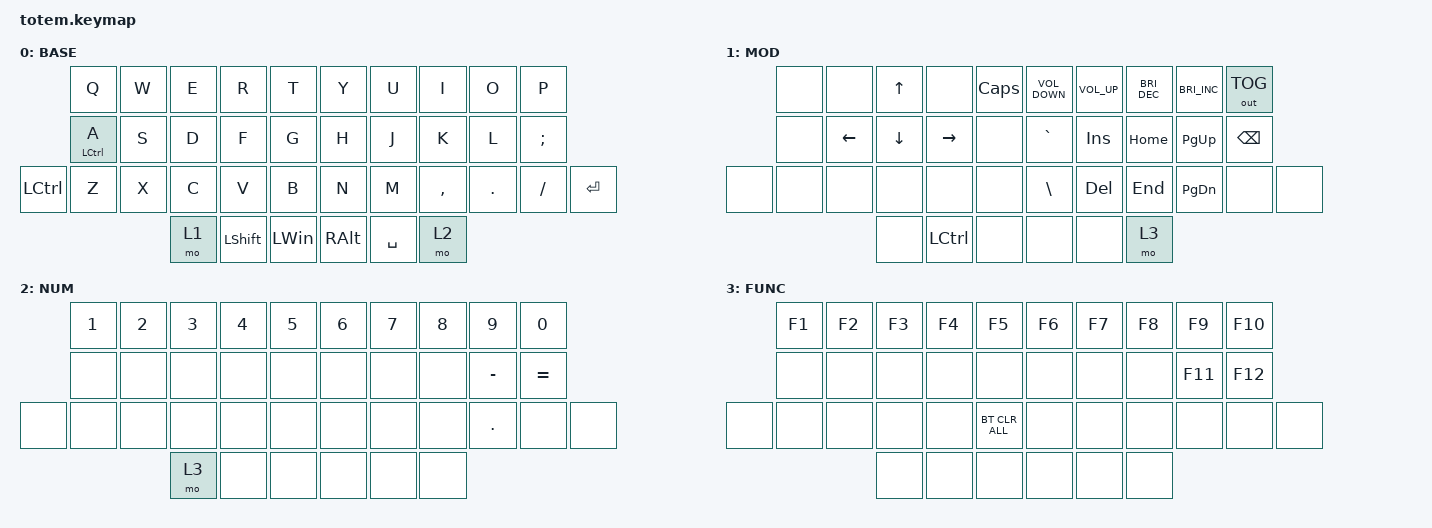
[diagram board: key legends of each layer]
//
//                                                        ▀▀▀▀▀     ▀▀▀▀▀          ▀▀█▀▀
//                                                        ▄▀▀▀▄  ▄  ▄▀▀▀▄  ▄  ▄▀▀▀▄  █  ▄▀▀▀▄
//                                                        █   █  █  █   █  █  █   █  █  █   █
//                                                         ▀▀▀   █   ▀▀▀   █   ▀▀▀   ▀   ▀▀▀
//                                                               █      ▄▄▄█▄▄▄    █   █  
//                                                               ▀      █  █  █     █▄█
//                                                             ▀▀▀▀▀    █  █  █      ▀
//                                                                      ▀  ▀  ▀
//
// ▄▄▄▄▄▄▄▄▄▄▄▄▄▄▄▄▄▄▄▄▄▄▄▄▄▄▄▄▄▄▄▄▄▄▄▄▄▄▄▄▄▄▄▄▄▄▄▄▄▄▄▄▄▄▄▄▄▄▄▄▄▄▄▄▄▄▄▄▄▄▄▄▄▄▄▄▄▄▄▄▄▄▄▄▄▄▄▄▄▄▄▄▄▄▄▄▄▄▄▄▄▄▄▄▄▄▄▄▄▄▄▄▄▄▄▄▄▄▄▄▄▄▄▄▄▄▄▄▄▄▄▄▄▄▄▄▄▄▄▄▄▄▄▄▄▄▄▄▄

#include <behaviors.dtsi>
#include <dt-bindings/zmk/bt.h>
#include <dt-bindings/zmk/keys.h>
#include <dt-bindings/zmk/outputs.h>

#define BASE 0
#define MOD  1
#define NUM  2
#define FUNC  3
#define TVP1 4
#define TVP2 5

&mt {
    quick-tap-ms = <100>;
    global-quick-tap;
    flavor = "balanced";
    tapping-term-ms = <120>;
};

/ {
    combos {
        compatible = "zmk,combos";

        combo_esc {
            timeout-ms = <50>;
            key-positions = <0 1>;
            bindings = <&kp ESC>;
            slow-release;
        };

        combo_tab {
            timeout-ms = <50>;
            key-positions = <11 10>;
            bindings = <&kp TAB>;
            require-prior-idle-ms = <0>;
            slow-release;
        };

        combo_quote {
            bindings = <&kp SINGLE_QUOTE>;
            key-positions = <18 19>;
            timeout-ms = <50>;
            slow-release;
        };

        combo_left_parenthesis {
            bindings = <&kp LEFT_PARENTHESIS>;
            key-positions = <6 7>;
            timeout-ms = <50>;
            slow-release;
        };

        combo_right_parenthesis {
            bindings = <&kp RIGHT_PARENTHESIS>;
            key-positions = <8 9>;
            timeout-ms = <50>;
            require-prior-idle-ms = <0>;
            slow-release;
        };

        combo_left_bracket {
            bindings = <&kp LEFT_BRACKET>;
            key-positions = <27 28>;
            timeout-ms = <50>;
            require-prior-idle-ms = <0>;
            slow-release;
        };

        combo_right_bracket {
            bindings = <&kp RIGHT_BRACKET>;
            key-positions = <29 30>;
            timeout-ms = <50>;
            slow-release;
        };

        combo_enter {
            bindings = <&kp ENTER>;
            key-positions = <16 17>;
            timeout-ms = <50>;
            slow-release;
        };

        combo_colon {
            bindings = <&kp COLON>;
            key-positions = <13 12>;
            timeout-ms = <50>;
            require-prior-idle-ms = <0>;
            slow-release;
        };

        combo_ctrl_z {
            bindings = <&kp LC(Z)>;
            key-positions = <23 21>;
            timeout-ms = <50>;
            slow-release;
            require-prior-idle-ms = <0>;
        };

        combo_ctrl_a {
            bindings = <&kp LC(A)>;
            key-positions = <23 10>;
            timeout-ms = <50>;
            slow-release;
            require-prior-idle-ms = <0>;
        };
    };

    macros {
        gif: gif {
            label = "giphy";
            compatible = "zmk,behavior-macro";
            #binding-cells = <0>;
            bindings =
                <&macro_press>,
                <&kp LSHFT>,
                <&macro_tap>,
                <&kp N2>,
                <&macro_release>,
                <&kp LSHFT>,
                <&macro_tap>,
                <&kp G &kp I &kp F>;
        };
    };

    keymap {
        compatible = "zmk,keymap";

        // ▄▄▄▄▄▄▄▄▄▄▄▄▄▄▄▄▄▄▄▄▄▄▄▄▄▄▄▄▄▄▄▄▄▄▄▄▄▄▄▄▄▄▄▄▄▄▄▄▄▄▄▄▄▄▄▄▄▄▄▄▄▄▄▄▄▄▄▄▄▄▄▄▄▄▄▄▄▄▄▄▄▄▄▄▄▄▄▄▄▄▄▄▄▄▄▄▄▄▄▄▄▄▄▄▄▄▄▄▄▄▄▄▄▄▄▄▄▄▄▄▄▄▄▄▄▄▄▄▄▄▄▄▄▄▄▄▄▄▄▄▄▄▄▄▄▄▄▄▄

        base_layer {
            // ┏━━━━━━━━━━━━━━━━━━━━━━━━━━━━━━━━━━━━━━━┓

            label = "BASE";

            // ┗━━━━━━━━━━━━━━━━━━━━━━━━━━━━━━━━━━━━━━━┛
            //             ┏━━━━━━━━━━━┳━━━━━━━━━━━┳━━━━━━━━━━━┳━━━━━━━━━━━┳━━━━━━━━━━━┓   ┏━━━━━━━━━━━┳━━━━━━━━━━━┳━━━━━━━━━━━┳━━━━━━━━━━━┳━━━━━━━━━━━┓
            //             ┃     Q     ┃     W     ┃     F     ┃     P     ┃     G     ┃   ┃     J     ┃     L     ┃     U     ┃     Y     ┃     ;     ┃
            //             ┣━━━━━━━━━━━╋━━━━━━━━━━━╋━━━━━━━━━━━╋━━━━━━━━━━━╋━━━━━━━━━━━┫   ┣━━━━━━━━━━━╋━━━━━━━━━━━╋━━━━━━━━━━━╋━━━━━━━━━━━╋━━━━━━━━━━━┫
            //             ┃     A     ┃     R     ┃     S     ┃     T     ┃     D     ┃   ┃     H     ┃     N     ┃     E     ┃     I     ┃     O     ┃
            // ┏━━━━━━━━━━━╋━━━━━━━━━━━╋━━━━━━━━━━━╋━━━━━━━━━━━╋━━━━━━━━━━━╋━━━━━━━━━━━┫   ┣━━━━━━━━━━━╋━━━━━━━━━━━╋━━━━━━━━━━━╋━━━━━━━━━━━╋━━━━━━━━━━━╋━━━━━━━━━━━┓
            // ┃     Q     ┃     Z     ┃     X     ┃     C     ┃     V     ┃     B     ┃   ┃     K     ┃     M     ┃     ,     ┃     .     ┃     /     ┃     \     ┃
            // ┗━━━━━━━━━━━┻━━━━━━━━━━━┻━━━━━━━━━━━╋━━━━━━━━━━━╋━━━━━━━━━━━╋━━━━━━━━━━━┫   ┣━━━━━━━━━━━╋━━━━━━━━━━━╋━━━━━━━━━━━╋━━━━━━━━━━━┻━━━━━━━━━━━┻━━━━━━━━━━━┛
            //                                     ┃    DEL    ┃    TAB    ┃    SPC    ┃   ┃   ENTER   ┃           ┃   BSPC    ┃
            //                                     ┗━━━━━━━━━━━┻━━━━━━━━━━━┻━━━━━━━━━━━┛   ┗━━━━━━━━━━━┻━━━━━━━━━━━┻━━━━━━━━━━━┛

            bindings = <
                  &kp Q        &kp W  &kp E  &kp R           &kp T           &kp Y          &kp U      &kp I      &kp O    &kp P
                  &mt LCTRL A  &kp S  &kp D  &kp F           &kp G           &kp H          &kp J      &kp K      &kp L    &kp SEMICOLON
&kp LEFT_CONTROL  &kp Z        &kp X  &kp C  &kp V           &kp B           &kp N          &kp M      &kp COMMA  &kp DOT  &kp SLASH      &kp RET
                                      &mo 1  &kp LEFT_SHIFT  &kp LEFT_WIN    &kp RIGHT_ALT  &kp SPACE  &mo 2
            >;
        };

        // ▄▄▄▄▄▄▄▄▄▄▄▄▄▄▄▄▄▄▄▄▄▄▄▄▄▄▄▄▄▄▄▄▄▄▄▄▄▄▄▄▄▄▄▄▄▄▄▄▄▄▄▄▄▄▄▄▄▄▄▄▄▄▄▄▄▄▄▄▄▄▄▄▄▄▄▄▄▄▄▄▄▄▄▄▄▄▄▄▄▄▄▄▄▄▄▄▄▄▄▄▄▄▄▄▄▄▄▄▄▄▄▄▄▄▄▄▄▄▄▄▄▄▄▄▄▄▄▄▄▄▄▄▄▄▄▄▄▄▄▄▄▄▄▄▄▄▄▄▄

        mod_layer {
            // ┏━━━━━━━━━━━━━━━━━━━━━━━━━━━━━━━━━━━━━━━┓

            label = "MOD";

            // ┗━━━━━━━━━━━━━━━━━━━━━━━━━━━━━━━━━━━━━━━┛
            //             ┏━━━━━━━━━━━┳━━━━━━━━━━━┳━━━━━━━━━━━┳━━━━━━━━━━━┳━━━━━━━━━━━┓   ┏━━━━━━━━━━━┳━━━━━━━━━━━┳━━━━━━━━━━━┳━━━━━━━━━━━┳━━━━━━━━━━━┓
            //             ┃           ┃           ┃     UP    ┃           ┃     {     ┃   ┃     }     ┃     7     ┃     8     ┃     9     ┃     +     ┃
            //             ┣━━━━━━━━━━━╋━━━━━━━━━━━╋━━━━━━━━━━━╋━━━━━━━━━━━╋━━━━━━━━━━━┫   ┣━━━━━━━━━━━╋━━━━━━━━━━━╋━━━━━━━━━━━╋━━━━━━━━━━━╋━━━━━━━━━━━┫
            //             ┃   SHIFT   ┃   LEFT    ┃    DOWN   ┃   RIGHT   ┃     [     ┃   ┃     ]     ┃     4     ┃     5     ┃     6     ┃     -     ┃
            // ┏━━━━━━━━━━━╋━━━━━━━━━━━╋━━━━━━━━━━━╋━━━━━━━━━━━╋━━━━━━━━━━━╋━━━━━━━━━━━┫   ┣━━━━━━━━━━━╋━━━━━━━━━━━╋━━━━━━━━━━━╋━━━━━━━━━━━╋━━━━━━━━━━━╋━━━━━━━━━━━┓
            // ┃           ┃           ┃   P UP    ┃  C LOCK   ┃  P DOWN   ┃     (     ┃   ┃     )     ┃     1     ┃     2     ┃     3     ┃     *     ┃           ┃
            // ┗━━━━━━━━━━━┻━━━━━━━━━━━┻━━━━━━━━━━━╋━━━━━━━━━━━╋━━━━━━━━━━━╋━━━━━━━━━━━┫   ┣━━━━━━━━━━━╋━━━━━━━━━━━╋━━━━━━━━━━━╋━━━━━━━━━━━┻━━━━━━━━━━━┻━━━━━━━━━━━┛
            //                                     ┃           ┃    TAB    ┃    SPC    ┃   ┃    DEL    ┃     0     ┃           ┃
            //                                     ┗━━━━━━━━━━━┻━━━━━━━━━━━┻━━━━━━━━━━━┛   ┗━━━━━━━━━━━┻━━━━━━━━━━━┻━━━━━━━━━━━┛

            bindings = <
       &none  &none     &kp UP_ARROW  &none             &kp CAPSLOCK    &kp C_VOLUME_DOWN  &kp C_VOLUME_UP  &kp C_BRIGHTNESS_DEC  &kp C_BRIGHTNESS_INC  &out OUT_TOG
       &none  &kp LEFT  &kp DOWN      &kp RIGHT         &none           &kp GRAVE          &kp INS          &kp HOME              &kp PAGE_UP           &kp BACKSPACE
&none  &none  &none     &none         &none             &none           &kp BACKSLASH      &kp DELETE       &kp END               &kp PAGE_DOWN         &none          &none
                        &none         &kp LEFT_CONTROL  &none           &none              &none            &mo 3
            >;
        };

        // ▄▄▄▄▄▄▄▄▄▄▄▄▄▄▄▄▄▄▄▄▄▄▄▄▄▄▄▄▄▄▄▄▄▄▄▄▄▄▄▄▄▄▄▄▄▄▄▄▄▄▄▄▄▄▄▄▄▄▄▄▄▄▄▄▄▄▄▄▄▄▄▄▄▄▄▄▄▄▄▄▄▄▄▄▄▄▄▄▄▄▄▄▄▄▄▄▄▄▄▄▄▄▄▄▄▄▄▄▄▄▄▄▄▄▄▄▄▄▄▄▄▄▄▄▄▄▄▄▄▄▄▄▄▄▄▄▄▄▄▄▄▄▄▄▄▄▄▄▄

        num_layer {
            // ┏━━━━━━━━━━━━━━━━━━━━━━━━━━━━━━━━━━━━━━━┓

            label = "NUM";

            // ┗━━━━━━━━━━━━━━━━━━━━━━━━━━━━━━━━━━━━━━━┛
            //             ┏━━━━━━━━━━━┳━━━━━━━━━━━┳━━━━━━━━━━━┳━━━━━━━━━━━┳━━━━━━━━━━━┓   ┏━━━━━━━━━━━┳━━━━━━━━━━━┳━━━━━━━━━━━┳━━━━━━━━━━━┳━━━━━━━━━━━┓
            //             ┃     !     ┃     @     ┃     #     ┃     $     ┃     %     ┃   ┃     ˆ     ┃     &     ┃     Ü     ┃     '     ┃     "     ┃
            //             ┣━━━━━━━━━━━╋━━━━━━━━━━━╋━━━━━━━━━━━╋━━━━━━━━━━━╋━━━━━━━━━━━┫   ┣━━━━━━━━━━━╋━━━━━━━━━━━╋━━━━━━━━━━━╋━━━━━━━━━━━╋━━━━━━━━━━━┫
            //             ┃     Ä     ┃           ┃    SZ     ┃           ┃           ┃   ┃   MUTE    ┃   YEN     ┃   EURO    ┃  POUND    ┃     Ö     ┃
            // ┏━━━━━━━━━━━╋━━━━━━━━━━━╋━━━━━━━━━━━╋━━━━━━━━━━━╋━━━━━━━━━━━╋━━━━━━━━━━━┫   ┣━━━━━━━━━━━╋━━━━━━━━━━━╋━━━━━━━━━━━╋━━━━━━━━━━━╋━━━━━━━━━━━╋━━━━━━━━━━━┓
            // ┃           ┃  EMAIL1   ┃  EMAIL2   ┃           ┃           ┃           ┃   ┃   VOL-    ┃   VOL+    ┃   LAST    ┃   NEXT    ┃     \     ┃           ┃
            // ┗━━━━━━━━━━━┻━━━━━━━━━━━┻━━━━━━━━━━━╋━━━━━━━━━━━╋━━━━━━━━━━━╋━━━━━━━━━━━┫   ┣━━━━━━━━━━━╋━━━━━━━━━━━╋━━━━━━━━━━━╋━━━━━━━━━━━┻━━━━━━━━━━━┻━━━━━━━━━━━┛
            //                                     ┃           ┃    GIF    ┃    ADJ    ┃   ┃           ┃           ┃           ┃
            //                                     ┗━━━━━━━━━━━┻━━━━━━━━━━━┻━━━━━━━━━━━┛   ┗━━━━━━━━━━━┻━━━━━━━━━━━┻━━━━━━━━━━━┛

            bindings = <
       &kp NUMBER_1  &kp NUMBER_2  &kp NUMBER_3  &kp NUMBER_4  &kp N5    &kp NUMBER_6  &kp N7  &kp N8  &kp N9      &kp N0
       &none         &none         &none         &none         &none     &none         &none   &none   &kp MINUS   &kp EQUAL
&none  &none         &none         &none         &none         &none     &none         &none   &none   &kp PERIOD  &none      &none
                                   &mo 3         &none         &none     &none         &none   &none
            >;
        };

        // ▄▄▄▄▄▄▄▄▄▄▄▄▄▄▄▄▄▄▄▄▄▄▄▄▄▄▄▄▄▄▄▄▄▄▄▄▄▄▄▄▄▄▄▄▄▄▄▄▄▄▄▄▄▄▄▄▄▄▄▄▄▄▄▄▄▄▄▄▄▄▄▄▄▄▄▄▄▄▄▄▄▄▄▄▄▄▄▄▄▄▄▄▄▄▄▄▄▄▄▄▄▄▄▄▄▄▄▄▄▄▄▄▄▄▄▄▄▄▄▄▄▄▄▄▄▄▄▄▄▄▄▄▄▄▄▄▄▄▄▄▄▄▄▄▄▄▄▄▄

        func_layer {
            // ┏━━━━━━━━━━━━━━━━━━━━━━━━━━━━━━━━━━━━━━━┓

            label = "FUNC";

            // ┗━━━━━━━━━━━━━━━━━━━━━━━━━━━━━━━━━━━━━━━┛
            //             ┏━━━━━━━━━━━┳━━━━━━━━━━━┳━━━━━━━━━━━┳━━━━━━━━━━━┳━━━━━━━━━━━┓   ┏━━━━━━━━━━━┳━━━━━━━━━━━┳━━━━━━━━━━━┳━━━━━━━━━━━┳━━━━━━━━━━━┓
            //             ┃   RESET   ┃ BT CLEAR  ┃  OUT TOG  ┃           ┃           ┃   ┃           ┃    F7     ┃    F8     ┃    F9     ┃    F12    ┃
            //             ┣━━━━━━━━━━━╋━━━━━━━━━━━╋━━━━━━━━━━━╋━━━━━━━━━━━╋━━━━━━━━━━━┫   ┣━━━━━━━━━━━╋━━━━━━━━━━━╋━━━━━━━━━━━╋━━━━━━━━━━━╋━━━━━━━━━━━┫
            //             ┃ BOOTLOAD  ┃ BT NEXT   ┃           ┃           ┃           ┃   ┃           ┃    F4     ┃    F5     ┃    F6     ┃    F11    ┃
            // ┏━━━━━━━━━━━╋━━━━━━━━━━━╋━━━━━━━━━━━╋━━━━━━━━━━━╋━━━━━━━━━━━╋━━━━━━━━━━━┫   ┣━━━━━━━━━━━╋━━━━━━━━━━━╋━━━━━━━━━━━╋━━━━━━━━━━━╋━━━━━━━━━━━╋━━━━━━━━━━━┓
            // ┃           ┃           ┃ BT PREV   ┃           ┃           ┃           ┃   ┃           ┃    F1     ┃    F2     ┃    F3     ┃    F10    ┃           ┃
            // ┗━━━━━━━━━━━┻━━━━━━━━━━━┻━━━━━━━━━━━╋━━━━━━━━━━━╋━━━━━━━━━━━╋━━━━━━━━━━━┫   ┣━━━━━━━━━━━╋━━━━━━━━━━━╋━━━━━━━━━━━╋━━━━━━━━━━━┻━━━━━━━━━━━┻━━━━━━━━━━━┛
            //                                     ┃           ┃           ┃           ┃   ┃           ┃           ┃           ┃
            //                                     ┗━━━━━━━━━━━┻━━━━━━━━━━━┻━━━━━━━━━━━┛   ┗━━━━━━━━━━━┻━━━━━━━━━━━┻━━━━━━━━━━━┛

            bindings = <
       &kp F1  &kp F2  &kp F3  &kp F4  &kp F5            &kp F6  &kp F7  &kp F8  &kp F9   &kp F10
       &none   &none   &none   &none   &none             &none   &none   &none   &kp F11  &kp F12
&none  &none   &none   &none   &none   &bt BT_CLR_ALL    &none   &none   &none   &none    &none    &none
                       &none   &none   &none             &none   &none   &none
            >;
        };

        // ▄▄▄▄▄▄▄▄▄▄▄▄▄▄▄▄▄▄▄▄▄▄▄▄▄▄▄▄▄▄▄▄▄▄▄▄▄▄▄▄▄▄▄▄▄▄▄▄▄▄▄▄▄▄▄▄▄▄▄▄▄▄▄▄▄▄▄▄▄▄▄▄▄▄▄▄▄▄▄▄▄▄▄▄▄▄▄▄▄▄▄▄▄▄▄▄▄▄▄▄▄▄▄▄▄▄▄▄▄▄▄▄▄▄▄▄▄▄▄▄▄▄▄▄▄▄▄▄▄▄▄▄▄▄▄▄▄▄▄▄▄▄▄▄▄▄▄▄▄
        // ▄▄▄▄▄▄▄▄▄▄▄▄▄▄▄▄▄▄▄▄▄▄▄▄▄▄▄▄▄▄▄▄▄▄▄▄▄▄▄▄▄▄▄▄▄▄▄▄▄▄▄▄▄▄▄▄▄▄▄▄▄▄▄▄▄▄▄▄▄▄▄▄▄▄▄▄▄▄▄▄▄▄▄▄▄▄▄▄▄▄▄▄▄▄▄▄▄▄▄▄▄▄▄▄▄▄▄▄▄▄▄▄▄▄▄▄▄▄▄▄▄▄▄▄▄▄▄▄▄▄▄▄▄▄▄▄▄▄▄▄▄▄▄▄▄▄▄▄▄
    };
};
